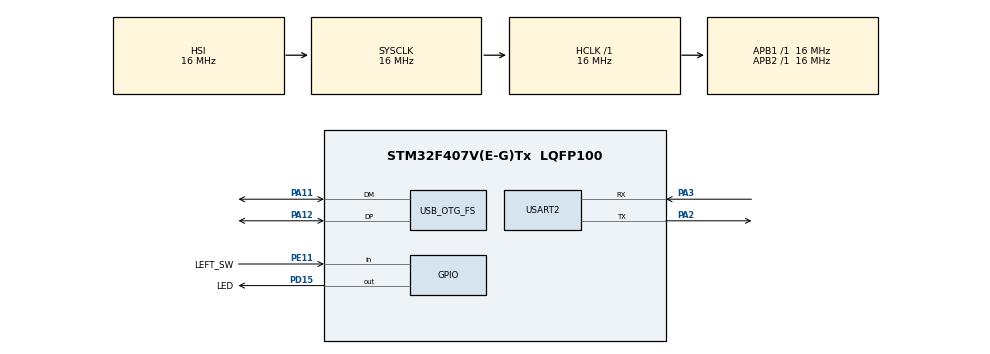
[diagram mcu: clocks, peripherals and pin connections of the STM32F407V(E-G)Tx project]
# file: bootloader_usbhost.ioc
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FATFS._CODE_PAGE=437
FATFS._MAX_LFN=20
FATFS._USE_FIND=1
FATFS._USE_LFN=2
Mcu.Family=STM32F4
Mcu.Name=STM32F407V(E-G)Tx
Mcu.Package=LQFP100
NVIC.OTG_FS_IRQn=true\:0\:0\:false\:false\:true\:true\:true\:true
NVIC.PriorityGroup=NVIC_PRIORITYGROUP_4
PA11.Mode=Host_Only
PA11.Signal=USB_OTG_FS_DM
PA12.Mode=Host_Only
PA12.Signal=USB_OTG_FS_DP
PA13.Mode=Serial_Wire
PA13.Signal=SYS_JTMS-SWDIO
PA14.Mode=Serial_Wire
PA14.Signal=SYS_JTCK-SWCLK
PA2.Mode=Asynchronous
PA2.Signal=USART2_TX
PA3.Mode=Asynchronous
PA3.Signal=USART2_RX
PD15.GPIO_Label=LED
PD15.Signal=GPIO_Output
PE11.GPIO_Label=LEFT_SW
PE11.Signal=GPIO_Input
ProjectManager.HeapSize=0x200
ProjectManager.StackSize=0x400
ProjectManager.TargetToolchain=MDK-ARM V5.32
RCC.AHBFreq_Value=16000000
RCC.APB1Freq_Value=16000000
RCC.APB2Freq_Value=16000000
RCC.CortexFreq_Value=16000000
RCC.HSE_VALUE=25000000
RCC.HSI_VALUE=16000000
RCC.LSE_VALUE=32768
RCC.PLLSource=RCC_PLLSOURCE_HSI
RCC.SYSCLKFreq_VALUE=16000000
RCC.VCOOutputFreq_Value=192000000
USART2.VirtualMode=VM_ASYNC
USB_HOST.USBH_HandleTypeDef-MSC_FS=hUsbHostFS
USB_HOST.VirtualModeFS=Msc
USB_OTG_FS.VirtualMode=Host_Only
USB_OTG_FS.phy_itface=HCD_PHY_EMBEDDED
VP_FATFS_VS_USB.Mode=USB
VP_USB_HOST_VS_USB_HOST_MSC_FS.Mode=MSC_FS
board=custom

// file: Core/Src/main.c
/* USER CODE BEGIN Header */
/**
  ******************************************************************************
  * @file           : main.c
  * @brief          : Main program body
  ******************************************************************************
  * @attention
  *
  * Copyright (c) 2024 STMicroelectronics.
  * All rights reserved.
  *
  * This software is licensed under terms that can be found in the LICENSE file
  * in the root directory of this software component.
  * If no LICENSE file comes with this software, it is provided AS-IS.
  *
  ******************************************************************************
  */
/* USER CODE END Header */
#include "main.h"
#include "fatfs.h"
#include "usart.h"
#include "usb_host.h"
#include "gpio.h"

/* USER CODE BEGIN Includes */
#include "flash_if.h"
/* USER CODE END Includes */

void SystemClock_Config(void);
void MX_USB_HOST_Process(void);

/* USER CODE BEGIN PFP */
void jump2app(void);
void FW_UPGRADE_Process(void);
/* USER CODE END PFP */

int main(void)
{
  /* USER CODE BEGIN 1 */
  MX_GPIO_Init();
  MX_USART2_UART_Init();
  /* USER CODE END 1 */

  /* MCU Configuration--------------------------------------------------------*/

  /* Reset of all peripherals, Initializes the Flash interface and the Systick. */
  HAL_Init();

  /* Configure the system clock */
  SystemClock_Config();

  /* Initialize all configured peripherals */
  MX_GPIO_Init();
  MX_USART2_UART_Init();
  MX_FATFS_Init();
  MX_USB_HOST_Init();
  /* USER CODE BEGIN 2 */
  /* Test if USER button is pressed */
  HAL_GPIO_WritePin(GPIOB, GPIO_PIN_3, GPIO_PIN_SET);
  HAL_Delay(100);
  HAL_GPIO_WritePin(GPIOB, GPIO_PIN_3, GPIO_PIN_RESET);
  if (HAL_GPIO_ReadPin(LEFT_SW_GPIO_Port, LEFT_SW_Pin) != GPIO_PIN_RESET && *(uint32_t *)0x0800BFFC != 0x5A5A5A5A) {
    /* Check Vector Table: Test if user code is programmed starting from
     * address "APPLICATION_ADDRESS" */
    HAL_Delay(100);

    if (HAL_GPIO_ReadPin(LEFT_SW_GPIO_Port, LEFT_SW_Pin) != GPIO_PIN_RESET && *(uint32_t *)0x0800BFFC != 0x5A5A5A5A) {
      jump2app();
    }

  } else {
    HAL_GPIO_WritePin(LED_GPIO_Port, LED_Pin, GPIO_PIN_SET);
  }
  /* USER CODE END 2 */

  /* Infinite loop */
  while (1)
  {
    MX_USB_HOST_Process();

    /* USER CODE BEGIN 3 */

    FW_UPGRADE_Process();
  }
  /* USER CODE END 3 */
}

void SystemClock_Config(void)
{
  RCC_OscInitTypeDef RCC_OscInitStruct = {0};
  RCC_ClkInitTypeDef RCC_ClkInitStruct = {0};

  /** Configure the main internal regulator output voltage
  */
  __HAL_RCC_PWR_CLK_ENABLE();
  __HAL_PWR_VOLTAGESCALING_CONFIG(PWR_REGULATOR_VOLTAGE_SCALE1);

  /** Initializes the RCC Oscillators according to the specified parameters
  * in the RCC_OscInitTypeDef structure.
  */
  RCC_OscInitStruct.OscillatorType = RCC_OSCILLATORTYPE_HSI;
  RCC_OscInitStruct.HSIState = RCC_HSI_ON;
  RCC_OscInitStruct.HSICalibrationValue = RCC_HSICALIBRATION_DEFAULT;
  RCC_OscInitStruct.PLL.PLLState = RCC_PLL_ON;
  RCC_OscInitStruct.PLL.PLLSource = RCC_PLLSOURCE_HSI;
  RCC_OscInitStruct.PLL.PLLM = 16;
  RCC_OscInitStruct.PLL.PLLN = 192;
  RCC_OscInitStruct.PLL.PLLP = RCC_PLLP_DIV2;
  RCC_OscInitStruct.PLL.PLLQ = 4;
  if (HAL_RCC_OscConfig(&RCC_OscInitStruct) != HAL_OK)
  {
    Error_Handler();
  }

  /** Initializes the CPU, AHB and APB buses clocks
  */
  RCC_ClkInitStruct.ClockType = RCC_CLOCKTYPE_HCLK|RCC_CLOCKTYPE_SYSCLK
                              |RCC_CLOCKTYPE_PCLK1|RCC_CLOCKTYPE_PCLK2;
  RCC_ClkInitStruct.SYSCLKSource = RCC_SYSCLKSOURCE_HSI;
  RCC_ClkInitStruct.AHBCLKDivider = RCC_SYSCLK_DIV1;
  RCC_ClkInitStruct.APB1CLKDivider = RCC_HCLK_DIV1;
  RCC_ClkInitStruct.APB2CLKDivider = RCC_HCLK_DIV1;

  if (HAL_RCC_ClockConfig(&RCC_ClkInitStruct, FLASH_LATENCY_0) != HAL_OK)
  {
    Error_Handler();
  }
}

/* USER CODE BEGIN 4 */
void jump2app(void)
{
  uint32_t app_addr;
  fun_t app_run;

  if ((((*(__IO uint32_t *) APPLICATION_ADDRESS) & 0xFF000000) == 0x20000000) || (((*(__IO uint32_t *) APPLICATION_ADDRESS) & 0xFF000000) == 0x10000000)) {
    /* Jump to user application */
    app_addr = *(__IO uint32_t *) (APPLICATION_ADDRESS + 4);
    app_run = (fun_t) app_addr;
    /* Initialize user application's Stack Pointer */
    __set_MSP(*(__IO uint32_t *) APPLICATION_ADDRESS);
    // __disable_irq();
    NVIC_DisableIRQ(OTG_FS_IRQn);

    printf("\nbootloader starts, jump 2 user app\n");
    app_run();
  } else {
    Fail_Handler();
  }
}

/* USER CODE END 4 */

void Error_Handler(void)
{
  __disable_irq();
  while (1)
  {
  }
}
